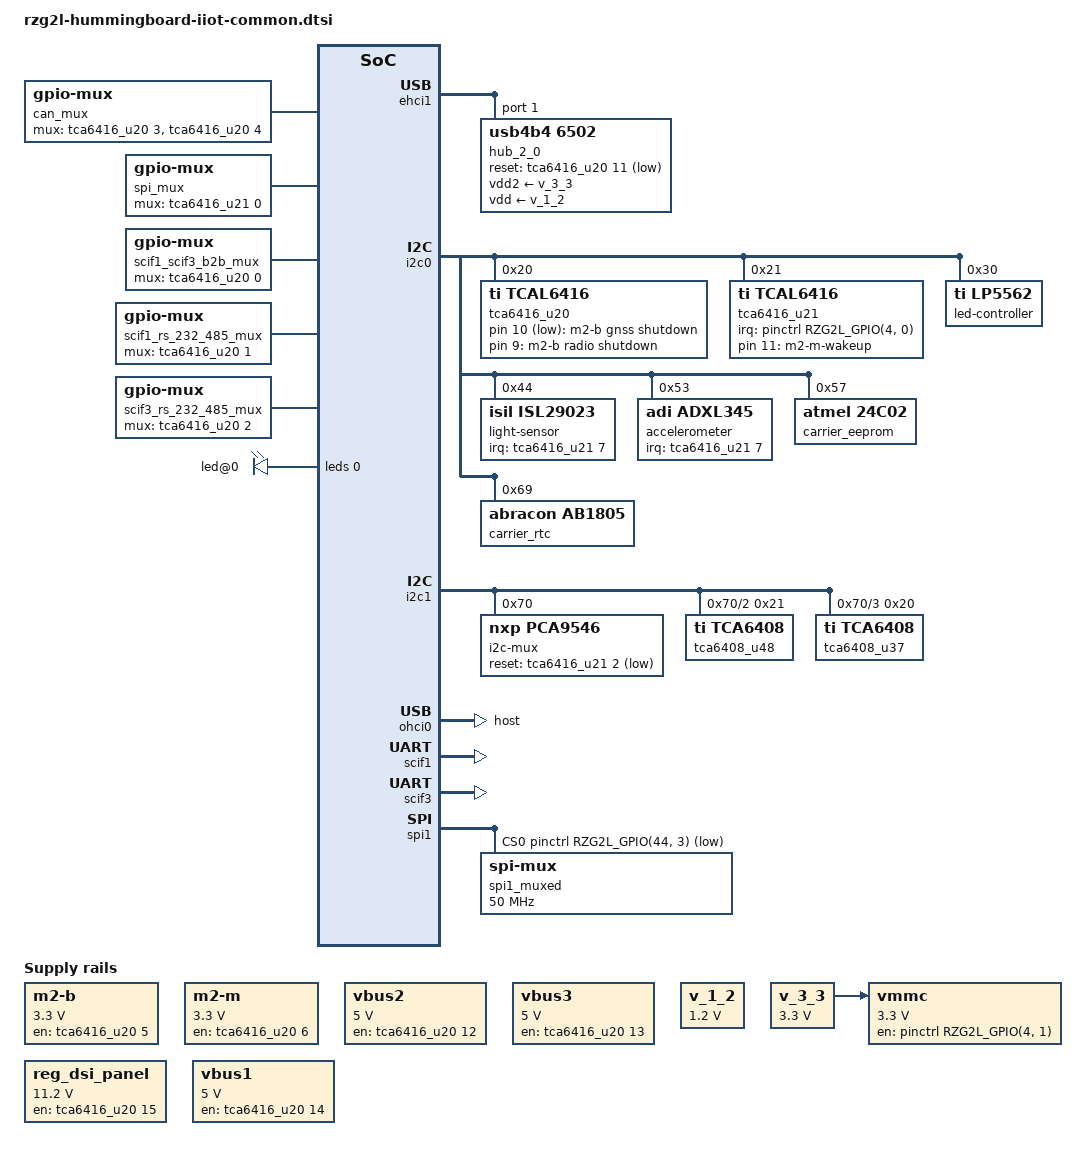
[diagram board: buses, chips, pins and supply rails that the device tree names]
// SPDX-License-Identifier: (GPL-2.0-only OR BSD-2-Clause)
/*
 * Copyright 2025 Josua Mayer <josua@solid-run.com>
 */

#include <dt-bindings/input/input.h>
#include <dt-bindings/leds/common.h>
/ {
	/* power for M.2 B-Key connector (J6) */
	regulator-m2-b {
		compatible = "regulator-fixed";
		regulator-name = "m2-b";
		gpios = <&tca6416_u20 5 GPIO_ACTIVE_HIGH>;
		regulator-always-on;
		regulator-max-microvolt = <3300000>;
		regulator-min-microvolt = <3300000>;
		enable-active-high;
	};

	/* power for M.2 M-Key connector (J4) */
	regulator-m2-m {
		compatible = "regulator-fixed";
		regulator-name = "m2-m";
		gpios = <&tca6416_u20 6 GPIO_ACTIVE_HIGH>;
		regulator-always-on;
		regulator-max-microvolt = <3300000>;
		regulator-min-microvolt = <3300000>;
		enable-active-high;
	};

	/* power for USB-A J27 behind USB Hub Port 3 */
	regulator-vbus-2 {
		compatible = "regulator-fixed";
		regulator-name = "vbus2";
		regulator-always-on;
		regulator-max-microvolt = <5000000>;
		regulator-min-microvolt = <5000000>;
		gpios = <&tca6416_u20 12 GPIO_ACTIVE_HIGH>;
		enable-active-high;
	};

	/* power for USB-A J27 behind USB Hub Port 4 */
	regulator-vbus-3 {
		compatible = "regulator-fixed";
		regulator-name = "vbus3";
		regulator-always-on;
		regulator-max-microvolt = <5000000>;
		regulator-min-microvolt = <5000000>;
		gpios = <&tca6416_u20 13 GPIO_ACTIVE_HIGH>;
		enable-active-high;
	};

	aliases {
		i2c3 = &i2c_exp;
		i2c4 = &i2c_csi;
		i2c5 = &i2c_dsi;
		i2c6 = &i2c_lvds;
		rtc0 = &carrier_rtc;
		rtc1 = &pmic;
		serial3 = &scif3;
	};

	gpio-keys {
		compatible = "gpio-keys";

		wakeup-event {
			interrupts-extended = <&tca6416_u21 11 IRQ_TYPE_EDGE_FALLING>;
			label = "m2-m-wakeup";
			wakeup-source;
			linux,code = <KEY_WAKEUP>;
		};
	};

	can_mux: mux-controller-1 {
		compatible = "gpio-mux";
		/* default J9-55/57/59/61 to on-board transceivers */
		idle-state = <0>;
		#mux-control-cells = <0>;
		/*
		 * Mux routes CAN bus signals between SoM connector pins,
		 * expansion connector (J22) and on-board transceivers using
		 * two GPIO:
		 * - IO3: 0 = on-board transceivers, 1 = expansion connector
		 * - IO4: 0 = J9-55/57/59/61, 1 = J7-12/16 & J9-54/56
		 */
		mux-gpios = <&tca6416_u20 3 GPIO_ACTIVE_HIGH>,
			    <&tca6416_u20 4 GPIO_ACTIVE_HIGH>;
	};

	spi_mux: mux-controller-2 {
		compatible = "gpio-mux";
		/* default on-board */
		idle-state = <0>;
		/*
		 * Mux switches spi bus between on-board tpm
		 * and expansion connector (J22).
		 */
		mux-gpios = <&tca6416_u21 0 GPIO_ACTIVE_HIGH>;
		#mux-control-cells = <0>;
	};

	scif1_scif3_b2b_mux: mux-controller-3 {
		compatible = "gpio-mux";
		/* default on-board */
		idle-state = <0>;
		#mux-control-cells = <0>;
		/*
		 * Mux switches both scif1 and scif3 tx/rx between expansion
		 * connector (J22) and on-board rs232/rs485 transceivers
		 * using one GPIO: 0 = on-board, 1 = connector.
		 */
		mux-gpios = <&tca6416_u20 0 GPIO_ACTIVE_HIGH>;
	};

	scif1_rs_232_485_mux: mux-controller-4 {
		compatible = "gpio-mux";
		/* default rs232 */
		idle-state = <0>;
		#mux-control-cells = <0>;
		/*
		 * Mux switches scif1 tx/rx between rs232 and rs485
		 * transceivers. using one GPIO: 0 = rs232, 1 = rs485.
		 */
		mux-gpios = <&tca6416_u20 1 GPIO_ACTIVE_HIGH>;
	};

	scif3_rs_232_485_mux: mux-controller-5 {
		compatible = "gpio-mux";
		/* default rs232 */
		idle-state = <0>;
		#mux-control-cells = <0>;
		/*
		 * Mux switches scif3 tx/rx between rs232 and rs485
		 * transceivers. using one GPIO: 0 = rs232, 1 = rs485.
		 */
		mux-gpios = <&tca6416_u20 2 GPIO_ACTIVE_HIGH>;
	};

	v_1_2: regulator-1v2 {
		compatible = "regulator-fixed";
		regulator-name = "1v2";
		regulator-max-microvolt = <1200000>;
		regulator-min-microvolt = <1200000>;
	};

	v_3_3: regulator-3v3 {
		compatible = "regulator-fixed";
		regulator-name = "3v3";
		regulator-max-microvolt = <3300000>;
		regulator-min-microvolt = <3300000>;
	};

	reg_dsi_panel: regulator-dsi-panel {
		compatible = "regulator-fixed";
		regulator-name = "dsi-panel";
		gpios = <&tca6416_u20 15 GPIO_ACTIVE_HIGH>;
		regulator-max-microvolt = <11200000>;
		regulator-min-microvolt = <11200000>;
		enable-active-high;
	};

	vmmc: regulator-mmc {
		compatible = "regulator-fixed";
		regulator-name = "vmmc";
		regulator-max-microvolt = <3300000>;
		regulator-min-microvolt = <3300000>;
		startup-delay-us = <250>;
		vin-supply = <&v_3_3>;
		gpios = <&pinctrl RZG2L_GPIO(4, 1) GPIO_ACTIVE_HIGH>;
		enable-active-high;
	};

	/* power for USB-A J5003 */
	vbus1: regulator-vbus-1 {
		compatible = "regulator-fixed";
		regulator-name = "vbus1";
		regulator-max-microvolt = <5000000>;
		regulator-min-microvolt = <5000000>;
		gpios = <&tca6416_u20 14 GPIO_ACTIVE_HIGH>;
		enable-active-high;
	};

	rfkill-m2-b-gnss {
		compatible = "rfkill-gpio";
		/* rfkill-gpio inverts internally */
		shutdown-gpios = <&tca6416_u20 10 GPIO_ACTIVE_LOW>;
		label = "m2-b gnss";
		radio-type = "gps";
	};

	rfkill-m2-b-wwan {
		compatible = "rfkill-gpio";
		/* rfkill-gpio inverts internally */
		shutdown-gpios = <&tca6416_u20 9 GPIO_ACTIVE_HIGH>;
		label = "m2-b radio";
		radio-type = "wwan";
	};
};

&ehci1 {
	#address-cells = <1>;
	#size-cells = <0>;

	hub_2_0: hub@1 {
		compatible = "usb4b4,6502", "usb4b4,6506";
		reg = <1>;
		reset-gpios = <&tca6416_u20 11 GPIO_ACTIVE_LOW>;
		vdd2-supply = <&v_3_3>;
		vdd-supply = <&v_1_2>;
	};
};

&i2c0 {
	/* highest i2c clock supported by all peripherals is 400kHz */

	tca6416_u20: gpio@20 {
		compatible = "ti,tcal6416";
		reg = <0x20>;
		#gpio-cells = <2>;
		gpio-controller;
		gpio-line-names = "TCA_INT/EXT_UART", "TCA_UARTA_232/485",
				  "TCA_UARTB_232/485", "TCA_INT/EXT_CAN",
				  "TCA_NXP/REN", "TCA_M.2B_3V3_EN",
				  "TCA_M.2M_3V3_EN", "TCA_M.2M_RESET#",
				  "TCA_M.2B_RESET#", "TCA_M.2B_W_DIS#",
				  "TCA_M.2B_GPS_EN#", "TCA_USB-HUB_RST#",
				  "TCA_USB_HUB3_PWR_EN", "TCA_USB_HUB4_PWR_EN",
				  "TCA_USB1_PWR_EN", "TCA_VIDEO_PWR_EN";

		m2-b-reset-hog {
			gpios = <8 GPIO_ACTIVE_LOW>;
			gpio-hog;
			line-name = "m2-b-reset";
			output-low;
		};

		m2-m-reset-hog {
			gpios = <7 GPIO_ACTIVE_LOW>;
			gpio-hog;
			line-name = "m2-m-reset";
			/*
			 * M.2 Key-M connector only supports PCI,
			 * but RZ/G2L(C) has no pci controller.
			 * Keep any card in reset.
			 */
			output-high;
		};
	};

	tca6416_u21: gpio@21 {
		compatible = "ti,tcal6416";
		reg = <0x21>;
		#interrupt-cells = <2>;
		interrupt-controller;
		#gpio-cells = <2>;
		gpio-controller;
		gpio-line-names = "TCA_SPI_TPM/EXT", "TCA_TPM_RST#",
				  "TCA_I2C_RST", "TCA_RS232_SHTD#",
				  "TCA_LCD_I2C_RST", "TCA_DIG_OUT1",
				  "TCA_bDIG_IN1", "TCA_SENS_INT",
				  "TCA_ALERT#", "TCA_TPM_PIRQ#",
				  "TCA_RTC_INT", "TCA_M.2M_WAKW_ON_LAN",
				  "TCA_M.2M_CLKREQ#", "TCA_LVDS_INT#",
				  "", "TCA_POE_AT";
		/*
		 * Level interrupts are typical for gpio expander but not supported on rz/g2l
		 * gpios. However since TCAL6416 latches interrupts and clears only on reading
		 * port register, falling edge trigger doesn't lose events.
		 */
		interrupts-extended = <&pinctrl RZG2L_GPIO(4, 0) IRQ_TYPE_EDGE_FALLING>;

		lcd-i2c-reset-hog {
			gpios = <4 (GPIO_ACTIVE_LOW|GPIO_PULL_UP|GPIO_OPEN_DRAIN)>;
			line-name = "lcd-i2c-reset";
			output-low;
			/*
			 * reset shared between U37 and U48, to be
			 * supported once gpio-pca953x switches to
			 * reset framework.
			 */
			gpio-hog;
		};

		lvds-irq-hog {
			gpios = <13 (GPIO_ACTIVE_LOW | GPIO_PULL_UP)>;
			gpio-hog;
			input;
			line-name = "lvds-irq";
		};

		m2-m-clkreq-hog {
			gpios = <12 GPIO_ACTIVE_LOW>;
			gpio-hog;
			input;
			line-name = "m2-m-clkreq";
		};

		rs232_shutdown: rs232-shutdown-hog {
			gpios = <3 GPIO_ACTIVE_LOW>;
			gpio-hog;
			line-name = "rs232-shutdown";
			output-low;
		};

		sensor-irq-hog {
			gpios = <7 (GPIO_ACTIVE_LOW | GPIO_PULL_UP)>;
			gpio-hog;
			input;
			line-name = "sensor-irq";
		};

		tpm-irq-hog {
			gpios = <9 (GPIO_ACTIVE_LOW | GPIO_PULL_UP)>;
			gpio-hog;
			input;
			line-name = "tpm-irq";
		};
	};

	led-controller@30 {
		compatible = "ti,lp5562";
		reg = <0x30>;
		#address-cells = <1>;
		#size-cells = <0>;
		/* use internal clock, could use external generated by rtc */
		clock-mode = /bits/ 8 <1>;

		multi-led@0 {
			reg = <0x0>;
			#address-cells = <1>;
			#size-cells = <0>;
			color = <LED_COLOR_ID_RGB>;
			label = "D7";

			led@0 {
				reg = <0x0>;
				color = <LED_COLOR_ID_RED>;
				led-cur = /bits/ 8 <0x32>;
				max-cur = /bits/ 8 <0x64>;
			};

			led@1 {
				reg = <0x1>;
				color = <LED_COLOR_ID_GREEN>;
				led-cur = /bits/ 8 <0x19>;
				max-cur = /bits/ 8 <0x32>;
			};

			led@2 {
				reg = <0x2>;
				color = <LED_COLOR_ID_BLUE>;
				led-cur = /bits/ 8 <0x19>;
				max-cur = /bits/ 8 <0x32>;
			};
		};

		led@3 {
			reg = <0x3>;
			chan-name = "D8";
			color = <LED_COLOR_ID_GREEN>;
			label = "D8";
			led-cur = /bits/ 8 <0x19>;
			max-cur = /bits/ 8 <0x64>;
		};
	};

	light-sensor@44 {
		compatible = "isil,isl29023";
		reg = <0x44>;
		/* IRQ shared between accelerometer, light-sensor and Tamper input (J5007) */
		interrupts-extended = <&tca6416_u21 7 IRQ_TYPE_LEVEL_LOW>;
	};

	accelerometer@53 {
		compatible = "adi,adxl345";
		reg = <0x53>;
		interrupts-extended = <&tca6416_u21 7 IRQ_TYPE_LEVEL_LOW>;
		/* IRQ shared between accelerometer, light-sensor and Tamper input (J5007) */
		interrupt-names = "INT1";
	};

	carrier_eeprom: eeprom@57 {
		compatible = "atmel,24c02";
		reg = <0x57>;
		pagesize = <8>;
	};

	carrier_rtc: rtc@69 {
		compatible = "abracon,ab1805";
		reg = <0x69>;
		/*
		 * AM1805 RTC used on this board has only nTIRQ pins wired,
		 * which is for countdown timer irqs only.
		 * Driver does not support this, disable for now.
		 *
		 * interrupts-extended = <&tca6416_u21 10 IRQ_TYPE_LEVEL_LOW>;
		 */
		abracon,tc-diode = "schottky";
		abracon,tc-resistor = <3>;
	};
};

&i2c1 {
	/* highest i2c clock supported by all peripherals is 400kHz */

	i2c-mux@70 {
		compatible = "nxp,pca9546";
		reg = <0x70>;
		#address-cells = <1>;
		#size-cells = <0>;
		/*
		 * This reset is open drain with HW 10k pull-up resistor,
		 * but reset core does not support GPIO_OPEN_DRAIN flag.
		 * The pull-up and GPIO voltages match, push-pull is safe.
		 */
		reset-gpios = <&tca6416_u21 2 GPIO_ACTIVE_LOW>;

		/* channel 0 routed to expansion connector (J22) */
		i2c_exp: i2c@0 {
			reg = <0>;
			#address-cells = <1>;
			#size-cells = <0>;
		};

		/* channel 1 routed to mipi-csi connector (J23) */
		i2c_csi: i2c@1 {
			reg = <1>;
			#address-cells = <1>;
			#size-cells = <0>;
		};

		/* channel 2 routed to mipi-dsi connector (J25) */
		i2c_dsi: i2c@2 {
			reg = <2>;
			#address-cells = <1>;
			#size-cells = <0>;

			tca6408_u48: gpio@21 {
				compatible = "ti,tca6408";
				reg = <0x21>;
				#gpio-cells = <2>;
				gpio-line-names = "CAM_RST#", "DSI_RESET",
						  "DSI_STBYB", "DSI_PWM_BL",
						  "DSI_L/R", "DSI_U/D",
						  "DSI_CTP_/RST", "CAM_TRIG";
				/*
				 * reset shared between U37 and U48, to be
				 * supported once gpio-pca953x switches to
				 * reset framework.
				 *
				 * reset-gpios = <&tca6416_u21 4
				 *                (GPIO_ACTIVE_LOW|GPIO_PULL_UP|GPIO_OPEN_DRAIN)>;
				 */
				gpio-controller;
			};
		};

		/* channel 3 routed to lvds connector (J24) */
		i2c_lvds: i2c@3 {
			reg = <3>;
			#address-cells = <1>;
			#size-cells = <0>;

			tca6408_u37: gpio@20 {
				compatible = "ti,tca6408";
				reg = <0x20>;
				#gpio-cells = <2>;
				gpio-line-names = "SELB", "LVDS_RESET",
						  "LVDS_STBYB", "LVDS_PWM_BL",
						  "LVDS_L/R", "LVDS_U/D",
						  "LVDS_CTP_/RST", "";
				/*
				 * reset shared between U37 and U48, to be
				 * supported once gpio-pca953x switches to
				 * reset framework.
				 *
				 * reset-gpios = <&tca6416_u21 4
				 *                (GPIO_ACTIVE_LOW|GPIO_PULL_UP|GPIO_OPEN_DRAIN)>;
				 */
				gpio-controller;
			};
		};
	};
};

&ohci0 {
	dr_mode = "host";
};

&phy0 {
	leds {
		#address-cells = <1>;
		#size-cells = <0>;

		/* LED_0 pin */
		led@0 {
			reg = <0>;
			color = <LED_COLOR_ID_GREEN>;
			default-state = "keep";
			function = LED_FUNCTION_LAN;
		};
	};
};

&pinctrl {
	/* UARTA */
	scif1_pins: scif1 {
		pinmux = <RZG2L_PORT_PINMUX(40, 1, 1)>, /* SCIF1_RXD */
			 <RZG2L_PORT_PINMUX(40, 0, 1)>; /* SCIF1_TXD */
	};

	/* UARTB */
	scif3_pins: scif3 {
		pinmux = <RZG2L_PORT_PINMUX(0, 1, 5)>, /* SCIF3_RXD */
			 <RZG2L_PORT_PINMUX(0, 0, 5)>; /* SCIF3_TXD */
	};
};

&scif1 {
	pinctrl-0 = <&scif1_pins>;
	pinctrl-names = "default";
	status = "okay";
};

&scif3 {
	pinctrl-0 = <&scif3_pins>;
	pinctrl-names = "default";
	status = "okay";
};

&spi1 {
	/* native cs does not support cs persistence required for tpm */
	cs-gpios = <&pinctrl RZG2L_GPIO(44, 3) GPIO_ACTIVE_LOW>;
	num-cs = <1>;
	pinctrl-0 = <&spi1_pins>;
	pinctrl-names = "default";
	status = "okay";

	spi1_muxed: spi@0 {
		compatible = "spi-mux";
		reg = <0>;
		#address-cells = <1>;
		#size-cells = <0>;
		mux-controls = <&spi_mux>;
		/* mux bandwidth is 2GHz, soc max. spi clock is P0/2 = 50MHz */
		spi-max-frequency = <50000000>;

		tpm@0 {
			compatible = "infineon,slb9670", "tcg,tpm_tis-spi";
			reg = <0>;
			interrupts-extended = <&tca6416_u21 9 IRQ_TYPE_LEVEL_LOW>;
			reset-gpios = <&tca6416_u21 1 (GPIO_ACTIVE_LOW | GPIO_OPEN_DRAIN)>;
			spi-max-frequency = <43000000>;
		};
	};
};

&usb2_phy0 {
	vbus-supply = <&vbus1>;
};
